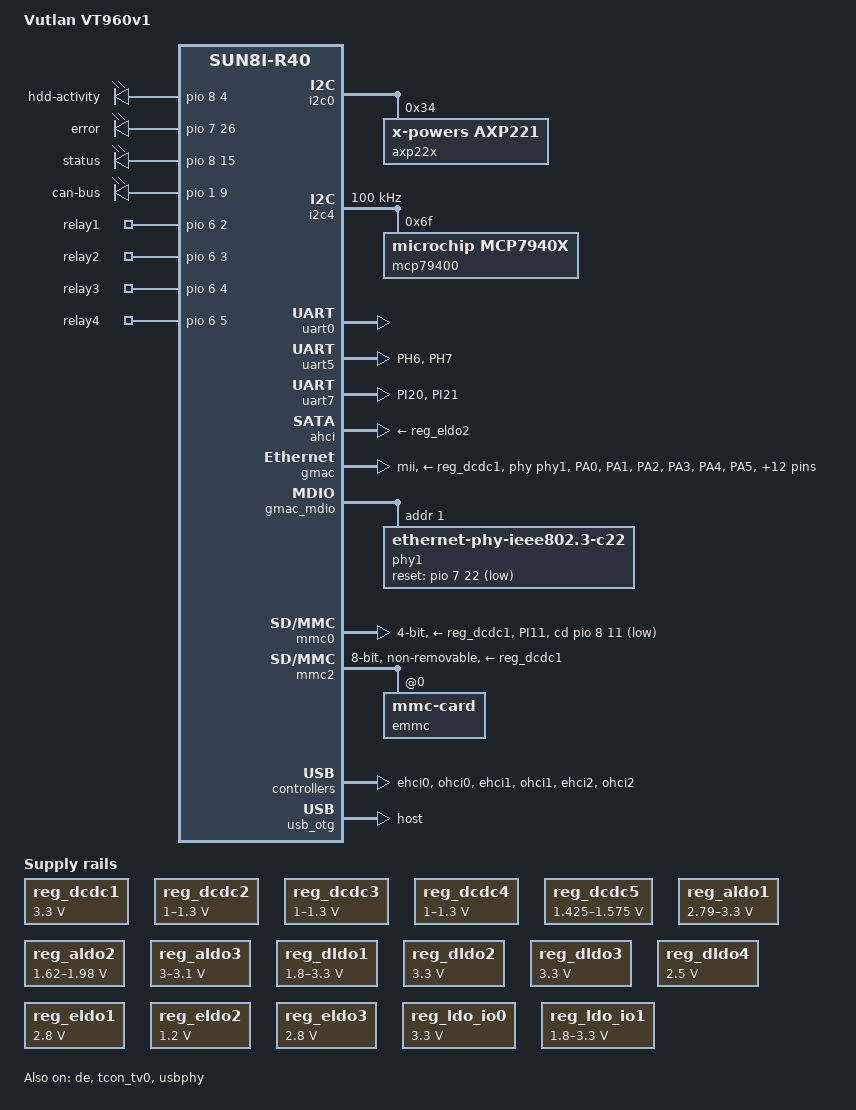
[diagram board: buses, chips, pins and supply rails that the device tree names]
/*
 * Copyright (C) 2017 Icenowy Zheng <icenowy@aosc.io>
 *
 * This file is dual-licensed: you can use it either under the terms
 * of the GPL or the X11 license, at your option. Note that this dual
 * licensing only applies to this file, and not this project as a
 * whole.
 *
 *  a) This file is free software; you can redistribute it and/or
 *     modify it under the terms of the GNU General Public License as
 *     published by the Free Software Foundation; either version 2 of the
 *     License, or (at your option) any later version.
 *
 *     This file is distributed in the hope that it will be useful,
 *     but WITHOUT ANY WARRANTY; without even the implied warranty of
 *     MERCHANTABILITY or FITNESS FOR A PARTICULAR PURPOSE.  See the
 *     GNU General Public License for more details.
 *
 * Or, alternatively,
 *
 *  b) Permission is hereby granted, free of charge, to any person
 *     obtaining a copy of this software and associated documentation
 *     files (the "Software"), to deal in the Software without
 *     restriction, including without limitation the rights to use,
 *     copy, modify, merge, publish, distribute, sublicense, and/or
 *     sell copies of the Software, and to permit persons to whom the
 *     Software is furnished to do so, subject to the following
 *     conditions:
 *
 *     The above copyright notice and this permission notice shall be
 *     included in all copies or substantial portions of the Software.
 *
 *     THE SOFTWARE IS PROVIDED "AS IS", WITHOUT WARRANTY OF ANY KIND,
 *     EXPRESS OR IMPLIED, INCLUDING BUT NOT LIMITED TO THE WARRANTIES
 *     OF MERCHANTABILITY, FITNESS FOR A PARTICULAR PURPOSE AND
 *     NONINFRINGEMENT. IN NO EVENT SHALL THE AUTHORS OR COPYRIGHT
 *     HOLDERS BE LIABLE FOR ANY CLAIM, DAMAGES OR OTHER LIABILITY,
 *     WHETHER IN AN ACTION OF CONTRACT, TORT OR OTHERWISE, ARISING
 *     FROM, OUT OF OR IN CONNECTION WITH THE SOFTWARE OR THE USE OR
 *     OTHER DEALINGS IN THE SOFTWARE.
 */

/dts-v1/;
#include "sun8i-r40.dtsi"

#include <dt-bindings/gpio/gpio.h>
#include <dt-bindings/input/input.h>

/ {
	model = "Vutlan VT960v1";
	compatible = "vutlan,vt960v1", "allwinner,sun8i-r40";

	aliases {
		ethernet0 = &gmac;
		serial0 = &uart0;
	};

	chosen {
		stdout-path = "serial0:115200n8";
	};	


	leds {
		compatible = "gpio-leds";
		
		hdd {
			label = "hdd-activity";
			gpios = <&pio 8 4 GPIO_ACTIVE_HIGH>; /* PI4 */
		};

		err {
			label = "error";
			gpios = <&pio 7 26 GPIO_ACTIVE_HIGH>; /* PH26 */
		};

		status {
			label = "status";
			gpios = <&pio 8 15 GPIO_ACTIVE_HIGH>; /* PI15 */
			default-state = "on";
		};

		can-bus {
			label = "can-bus";
			gpios = <&pio 1 9 GPIO_ACTIVE_HIGH>; /* PB9 */
		};

		relay1 {
			label = "relay1";
			gpios = <&pio 6 2 GPIO_ACTIVE_HIGH>; /* PG2 */
		};
		relay2 {
			label = "relay2";
			gpios = <&pio 6 3 GPIO_ACTIVE_HIGH>; /* PG3 */
		};
		relay3 {
			label = "relay3";
			gpios = <&pio 6 4 GPIO_ACTIVE_HIGH>; /* PG4 */
		};
		relay4 {
			label = "relay4";
			gpios = <&pio 6 5 GPIO_ACTIVE_HIGH>; /* PG5 */
		};

		//usb0-pwr {
		//	label = "usb0-pwr";  /* usb 0 (OTG) */
		//	gpios = <&pio 8 13 GPIO_ACTIVE_HIGH>; /* PI13 */
		//	default-state = "on";
		//};
		//usb1-pwr {
		//	label = "usb1-pwr";  /* usb 1 */
		//	gpios = <&pio 1 12 GPIO_ACTIVE_HIGH>; /* PB12 */
		//	default-state = "on";
		//};
		//usb2-pwr {
		//	label = "usb2-pwr";  /* internal lte modem */
		//	gpios = <&pio 1 4 GPIO_ACTIVE_HIGH>; /* PB4 */
		//	default-state = "off";
		//};
	};
};


/*
&cpu0 {
	clock-frequency = <912000000>;
	regulators = "vcc-cpu";
	clocks = <&ccu CLK_CPU>;
	clock-latency = <2000000>;
	operating-points = <
		// kHz	  uV
		1200000	1300000
		1152000	1300000
		1104000	1240000
		1008000	1160000
		912000	1100000
		816000	1000000
		720000	1000000
		600000	1000000
		480000	1000000
		>;
	#cooling-cells = <2>;
};
&cpu1 {
	clock-frequency = <912000000>;
	regulators = "vcc-cpu";
	clocks = <&ccu CLK_CPU>;
	clock-latency = <2000000>;
	operating-points = <
		// kHz	  uV
		1200000	1300000
		1152000	1300000
		1104000	1240000
		1008000	1160000
		912000	1100000
		816000	1000000
		720000	1000000
		600000	1000000
		480000	1000000
		>;
	#cooling-cells = <2>;
};
&cpu2 {
	clock-frequency = <912000000>;
	regulators = "vcc-cpu";
	clocks = <&ccu CLK_CPU>;
	clock-latency = <2000000>;
	operating-points = <
		// kHz	  uV
		1200000	1300000
		1152000	1300000
		1104000	1240000
		1008000	1160000
		912000	1100000
		816000	1000000
		720000	1000000
		600000	1000000
		480000	1000000
		>;
	#cooling-cells = <2>;
};
&cpu3 {
	clock-frequency = <912000000>;
	regulators = "vcc-cpu";
	clocks = <&ccu CLK_CPU>;
	clock-latency = <2000000>;
	operating-points = <
		// kHz	  uV
		1200000	1300000
		1152000	1300000
		1104000	1240000
		1008000	1160000
		912000	1100000
		816000	1000000
		720000	1000000
		600000	1000000
		480000	1000000
		>;
	#cooling-cells = <2>;
};
*/

&i2c0 {
	status = "okay";

	axp22x: pmic@34 {
		compatible = "x-powers,axp221";
		reg = <0x34>;
		interrupt-parent = <&nmi_intc>;
		interrupts = <0 IRQ_TYPE_LEVEL_LOW>;
	};
};

&i2c4 {
	clock-frequency = <100000>;
	status = "okay";
	
	mcp79400: mcp79400@6f {
		compatible = "microchip,mcp7940x";
		reg = <0x6f>;
	};
	
	/* TODO: vtx16, vtx40 */
};

/* console */ 
&uart0 {
	pinctrl-names = "default";
	pinctrl-0 = <&uart0_pb_pins>;
	status = "okay";
};

/* rs485 */
&uart5 {
	pinctrl-names = "default";
	pinctrl-0 = <&uart5_pins_vt960v1>;
	status = "okay";
};

/* 1-wire */
&uart7 {
	pinctrl-names = "default";
	pinctrl-0 = <&uart7_pins_vt960v1>;
	status = "okay";
};


&ahci {
	ahci-supply = <&reg_dldo4>;
	phy-supply = <&reg_eldo2>; 
	status = "okay";
};

&de {
	status = "okay";
};

&tcon_tv0 {
	status = "okay";
};


#include "axp22x.dtsi"

&reg_dcdc1 {
	regulator-always-on;
	regulator-min-microvolt = <3300000>;
	regulator-max-microvolt = <3300000>;
	regulator-name = "vcc-3v3";
};

&reg_dcdc2 {
	regulator-always-on;
	regulator-min-microvolt = <1000000>;
	regulator-max-microvolt = <1300000>;
	regulator-name = "vcc-cpu";
};

&reg_dcdc3 {
	regulator-always-on;
	regulator-min-microvolt = <1000000>;
	regulator-max-microvolt = <1300000>;
	regulator-name = "vdd-sys";
};

&reg_dcdc4 {
	regulator-always-on;
	regulator-min-microvolt = <1000000>;
	regulator-max-microvolt = <1300000>;
	regulator-name = "dcdc4";
};

&reg_dcdc5 {
	regulator-always-on;
	/* ddr3 Supply voltage operating range */
	regulator-min-microvolt = <1425000>;
	regulator-max-microvolt = <1575000>;
	regulator-name = "vcc-dram";
};

/* vcc-tvin vcc-25 */
&reg_aldo1 {
	regulator-always-on;
	regulator-min-microvolt = <2790000>;
	regulator-max-microvolt = <3300000>;
	regulator-name = "vcc-tvin";
};

/* vcc-pc vcc-emmcvq18 */
&reg_aldo2 {
	regulator-always-on;
	regulator-min-microvolt = <1620000>;
	regulator-max-microvolt = <1980000>;
	regulator-name = "vcc-emmcvq18";
};

&reg_aldo3 {
	regulator-always-on;
	regulator-min-microvolt = <3000000>;
	regulator-max-microvolt = <3100000>;
	regulator-name = "avcc";
};

/* vcc-io-wifi vcc-pg */
&reg_dldo1 {
	regulator-always-on;
	regulator-min-microvolt = <1800000>;
	regulator-max-microvolt = <3300000>;
	regulator-name = "vcc-wifi-io-vcc-pg";
};

&reg_dldo2 {
	regulator-always-on;
	regulator-min-microvolt = <3300000>;
	regulator-max-microvolt = <3300000>;
	regulator-name = "vcc-wifi";
};

&reg_dldo3 {
	regulator-always-on;
	regulator-min-microvolt = <3300000>;
	regulator-max-microvolt = <3300000>;
	regulator-name = "wlan-power-ext";
};

/* vcc-sata-25 vcc-pf */
&reg_dldo4 {
	regulator-always-on;
	regulator-min-microvolt = <2500000>;
	regulator-max-microvolt = <2500000>;
	regulator-name = "vcc-sata25-vcc-pf";
};

&reg_eldo1 {
	regulator-always-on;
	regulator-min-microvolt = <2800000>;
	regulator-max-microvolt = <2800000>;
	regulator-name = "isp-dvdd";
};

/* vcc-sata-12 */
&reg_eldo2 {
	regulator-always-on;
	regulator-min-microvolt = <1200000>;
	regulator-max-microvolt = <1200000>;
	regulator-name = "vcc-sata12";
};

&reg_eldo3 {
	regulator-always-on;
	regulator-min-microvolt = <2800000>;
	regulator-max-microvolt = <2800000>;
	regulator-name = "vcc-pe";
};

&reg_ldo_io0 {
	regulator-always-on;
	regulator-min-microvolt = <3300000>;
	regulator-max-microvolt = <3300000>;
	regulator-name = "vcc-ctp";
	status = "okay";
};

&reg_ldo_io1 {
	regulator-always-on;
	regulator-min-microvolt = <1800000>;
	regulator-max-microvolt = <3300000>;
	regulator-name = "vcc-i2s-18";
	status = "okay";
};

&reg_dc1sw {
	regulator-always-on;
	regulator-name = "vcc-lcd";
	status = "okay";
};

&ac_power_supply {
	status = "okay";
};



&pio {
	pinctrl-names = "default";
	pinctrl-0 = <&clk_out_a_pin>;

	 
	mmc0_cd_pin_vt960v1: mmc0_cd_pin_vt960v1@0 {
		pins = "PI11";
		function = "gpio_in";
		bias-pull-up;
	};
	
	uart5_pins_vt960v1: uart5_pins_vt960v1@0 {
		pins = "PH6", "PH7";
		function = "uart5";
	};
	uart7_pins_vt960v1: uart7_pins_vt960v1@0 {
		pins = "PI20", "PI21";
		function = "uart7";		
	};

	spi2_pins_vt960v1: spi2_pins_vt960v1@0 {
		pins = "PC20", "PC21", "PC22";
		function = "spi2";
	};
	spi2_cs_pin_vt960v1: spi2_cs_pin_vt960v1@0 {
		pins = "PC19";
		function = "spi2";
	};
	
	can_ph_pins: can-ph-pins {
		pins = "PH20", "PH21";
		function = "can";
	};

	usb0_id_detect_pin: usb0_id_detect_pin@0 {
		pins = "PI10";
		function = "gpio_in";
		bias-pull-up;
	};
	usb0_vbus_detect_pin: usb0_vbus_detect_pin@0 {
		pins = "PH17";
		function = "gpio_in";
	};

	gmac_pins_mii_a: gmac_pins_mii_a@0 {
		pins = "PA0", "PA1", "PA2",
		       "PA3", "PA4", "PA5", "PA6",
		       "PA7", "PA8", "PA9", "PA10",
		       "PA11", "PA12", "PA13", "PA14",
		       "PA15", "PA16", "PA17";
		function = "gmac";
		drive-strength = <30>;
	};
};

&gmac {
	pinctrl-names = "default";
	pinctrl-0 = <&gmac_pins_mii_a>;
	phy-handle = <&phy1>;
	phy-mode = "mii";
	phy-supply = <&reg_dcdc1>;
	status = "okay";
};
&gmac_mdio {
	phy1: ethernet-phy@1 {
		compatible = "ethernet-phy-ieee802.3-c22";
		reg = <1>;
		max-speed = <100>;
		reset-gpios = <&pio 7 22 GPIO_ACTIVE_LOW>; /* PH22 */
		reset-assert-us = <10000>;
		reset-deassert-us = <25000>;
	};
};

/* mmc0 card detect - ball V24 : gpio PI11 */
&mmc0 {
	pinctrl-names = "default";
	pinctrl-0 = <&mmc0_pins>, <&mmc0_cd_pin_vt960v1>;
	vmmc-supply = <&reg_dcdc1>;
	bus-width = <4>;
	cd-gpios = <&pio 8 11 GPIO_ACTIVE_HIGH>; 
	cd-inverted;
	no-1-8-v;
	status = "okay";
};

&mmc2 { 
	vmmc-supply = <&reg_dcdc1>;
	vqmmc-supply = <&reg_aldo2>;
	bus-width = <8>;
	non-removable;
	cap-mmc-hw-reset;	
	status = "okay";
	
	emmc: emmc@0 {
		reg = <0>;
		compatible = "mmc-card";
	};
};


&ehci0 {
	status = "okay";
};
&ohci0 {
	status = "okay";
};

&usb_otg {
	dr_mode = "host"; //"peripheral";
	status = "okay";
};

&ehci1 {
	status = "okay";
};
&ohci1 {
	status = "okay";
};

/* internal LTE modem */
&ehci2 {
	status = "okay";
};
&ohci2 {
	status = "okay";
};


&usb_power_supply {
	status = "okay";
};

&usbphy {
	pinctrl-names = "default";
	pinctrl-0 = <&usb0_id_detect_pin>, <&usb0_vbus_detect_pin>;

	usb0_id_det-gpio = <&pio 7 21 GPIO_ACTIVE_HIGH>; /* PH21 */
	usb0_vbus_det-gpios = <&pio 7 17 GPIO_ACTIVE_HIGH>; /* PH17 */
	//usb0_vbus-supply = <&reg_usb0_pwr>;
	usb0_vbus_power-supply = <&usb_power_supply>;

	//usb1_vbus-supply = <&reg_usb1_drv>;
	//usb2_vbus-supply = <&reg_usb2_drv>;
	
	status = "okay";
};
